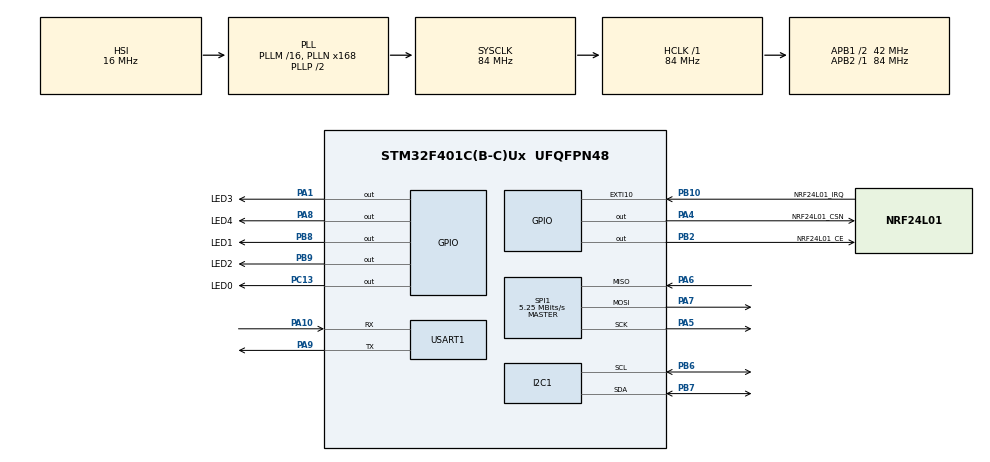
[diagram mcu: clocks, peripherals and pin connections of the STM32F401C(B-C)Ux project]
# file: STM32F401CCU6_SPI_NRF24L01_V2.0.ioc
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Mcu.Family=STM32F4
Mcu.Name=STM32F401C(B-C)Ux
Mcu.Package=UFQFPN48
NVIC.EXTI15_10_IRQn=true\:0\:0\:false\:false\:true\:true\:true\:true
NVIC.PriorityGroup=NVIC_PRIORITYGROUP_4
NVIC.TIM2_IRQn=true\:0\:0\:false\:false\:true\:true\:true\:true
NVIC.USART1_IRQn=true\:0\:0\:false\:false\:true\:true\:true\:true
PA1.GPIO_Label=LED3
PA1.Signal=GPIO_Output
PA10.Mode=Asynchronous
PA10.Signal=USART1_RX
PA13.Mode=Serial_Wire
PA13.Signal=SYS_JTMS-SWDIO
PA14.Mode=Serial_Wire
PA14.Signal=SYS_JTCK-SWCLK
PA4.GPIO_Label=NRF24L01_CSN
PA4.GPIO_Speed=GPIO_SPEED_FREQ_LOW
PA4.PinState=GPIO_PIN_SET
PA4.Signal=GPIO_Output
PA5.Mode=Full_Duplex_Master
PA5.Signal=SPI1_SCK
PA6.Mode=Full_Duplex_Master
PA6.Signal=SPI1_MISO
PA7.Mode=Full_Duplex_Master
PA7.Signal=SPI1_MOSI
PA8.GPIO_Label=LED4
PA8.Signal=GPIO_Output
PA9.Mode=Asynchronous
PA9.Signal=USART1_TX
PB10.GPIO_Label=NRF24L01_IRQ
PB10.GPIO_ModeDefaultEXTI=GPIO_MODE_IT_FALLING
PB10.GPIO_PuPd=GPIO_PULLUP
PB10.Signal=GPXTI10
PB2.GPIO_Label=NRF24L01_CE
PB2.Signal=GPIO_Output
PB6.Mode=I2C
PB6.Signal=I2C1_SCL
PB7.Mode=I2C
PB7.Signal=I2C1_SDA
PB8.GPIO_Label=LED1
PB8.Signal=GPIO_Output
PB9.GPIO_Label=LED2
PB9.Signal=GPIO_Output
PC13-ANTI_TAMP.GPIO_Label=LED0
PC13-ANTI_TAMP.Signal=GPIO_Output
ProjectManager.HeapSize=0x200
ProjectManager.StackSize=0x400
ProjectManager.TargetToolchain=MDK-ARM V5
RCC.48MHZClocksFreq_Value=42000000
RCC.AHBFreq_Value=84000000
RCC.APB1CLKDivider=RCC_HCLK_DIV2
RCC.APB1Freq_Value=42000000
RCC.APB1TimFreq_Value=84000000
RCC.APB2Freq_Value=84000000
RCC.APB2TimFreq_Value=84000000
RCC.CortexFreq_Value=84000000
RCC.HCLKFreq_Value=84000000
RCC.HSE_VALUE=25000000
RCC.HSI_VALUE=16000000
RCC.LSE_VALUE=32768
RCC.PLLN=168
RCC.SYSCLKFreq_VALUE=84000000
RCC.SYSCLKSource=RCC_SYSCLKSOURCE_PLLCLK
RCC.VCOOutputFreq_Value=168000000
SPI1.BaudRatePrescaler=SPI_BAUDRATEPRESCALER_16
SPI1.CalculateBaudRate=5.25 MBits/s
SPI1.Direction=SPI_DIRECTION_2LINES
SPI1.Mode=SPI_MODE_MASTER
SPI1.VirtualType=VM_MASTER
TIM2.AutoReloadPreload=TIM_AUTORELOAD_PRELOAD_ENABLE
TIM2.Period=1
TIM2.Prescaler=84-1
USART1.VirtualMode=VM_ASYNC
VP_TIM2_VS_ClockSourceINT.Mode=Internal
board=custom

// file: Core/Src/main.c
/* USER CODE BEGIN Header */
/**
  ******************************************************************************
  * @file           : main.c
  * @brief          : Main program body
  ******************************************************************************
  * @attention
  *
  * Copyright (c) 2022 STMicroelectronics.
  * All rights reserved.
  *
  * This software is licensed under terms that can be found in the LICENSE file
  * in the root directory of this software component.
  * If no LICENSE file comes with this software, it is provided AS-IS.
  *
  ******************************************************************************
  */
/* USER CODE END Header */
#include "main.h"

/* USER CODE BEGIN Includes */
#include "string.h"
#include "flash.h"
#include "oled.h"
#include "stdio.h"
/* USER CODE END Includes */

I2C_HandleTypeDef hi2c1;

SPI_HandleTypeDef hspi1;

TIM_HandleTypeDef htim2;

UART_HandleTypeDef huart1;

/* USER CODE BEGIN PV */
uint8_t nrf2401_tx_flag=0;
uint8_t nrf2401_txbuf[33];
uint8_t nrf_txbuf[33];
uint8_t txbuf_pos=0;
uint8_t currentNode = 0;
uint8_t desNode = 0;
uint8_t channel_flag=0;
uint8_t txflag = 2;
uint8_t MC_flag = 0;
uint8_t test_flag = 0;
uint32_t latency = 0;
uint32_t time = 0;
uint8_t pipe = 0;
float rate = 0;
uint8_t rx_cnt = 0;
uint32_t max_latency = 0;
uint32_t min_latency = 65536;
// 节点地址
/* USER CODE END PV */

void SystemClock_Config(void);
static void MX_GPIO_Init(void);
static void MX_SPI1_Init(void);
static void MX_USART1_UART_Init(void);
static void MX_TIM2_Init(void);
static void MX_I2C1_Init(void);
/* USER CODE BEGIN PFP */
void sendData(void);
/* USER CODE END PFP */

/* USER CODE BEGIN 0 */
void HAL_GPIO_EXTI_Callback(uint16_t GPIO_Pin)  //NRF2401_IRQ引脚中断
{ uint8_t tmp_buf[35],len;
  if(GPIO_Pin==NRF24L01_IRQ_Pin)
  { //*
    len=NRF24L01_RxPacket(tmp_buf); //返回收到的字节数,收到的len个字节数据存在tmp_buf中
    if(len>0)//一旦接收到信息,则串口发送出去.
    {
			tmp_buf[len+1]=0;
			//if(channel_flag != 0)
			//{
				send_int(&huart1,channel_flag);
				send_str(&huart1,(uint8_t *)"号机(通道");
				send_int(&huart1,pipe);
				send_str(&huart1,(uint8_t *)"):");
				if((tmp_buf[0] == 'r' || tmp_buf[0] == 't') && tmp_buf[1] == 'x' && (tmp_buf[2] >= '0' && tmp_buf[2] <= '3') && tmp_buf[3] == ' ')
					send_char_array(&huart1,tmp_buf,len - 1);
				else
					send_char_array(&huart1,tmp_buf,len);
			//}
			HAL_GPIO_TogglePin(LED0_GPIO_Port,LED0_Pin);
			HAL_GPIO_TogglePin(LED1_GPIO_Port,LED2_Pin);
	//__HAL_GPIO_EXTI_CLEAR_IT(NRF24L01_IRQ_Pin);
    }  // */
  }
}

/* USER CODE END 0 */

int main(void)
{

  /* MCU Configuration--------------------------------------------------------*/

  /* Reset of all peripherals, Initializes the Flash interface and the Systick. */
  HAL_Init();

  /* Configure the system clock */
  SystemClock_Config();

  /* Initialize all configured peripherals */
  MX_GPIO_Init();
  MX_SPI1_Init();
  MX_USART1_UART_Init();
  MX_TIM2_Init();
  MX_I2C1_Init();
  /* USER CODE BEGIN 2 */
  HAL_NVIC_DisableIRQ(NRF24L01_IRQ_EXTI_IRQn); //在MX_GPIO_Init()函数的末尾开了此中断，先关闭，等NRL24L01初始化完后再开中断
  __HAL_UART_ENABLE_IT(&huart1, UART_IT_RXNE); //使能串口1的接收中断，中断处理在stm32f4xx_it.c文件USART1_IRQHandler函数中
  __HAL_UART_ENABLE_IT(&huart1, UART_IT_IDLE); //使能串口1的空闲中断，中断处理在stm32f4xx_it.c文件USART1_IRQHandler函数中
	HAL_TIM_Base_Start_IT(&htim2);
  while(NRF24L01_Check())//检测不到24L01
  {
    HAL_GPIO_TogglePin(LED0_GPIO_Port,LED0_Pin);
    HAL_GPIO_TogglePin(LED1_GPIO_Port,LED1_Pin);
    HAL_Delay(250);
  }
  RX_Mode();//NRF24L01配置为接收模式

  // EXTI interrupt init
  HAL_NVIC_SetPriority(NRF24L01_IRQ_EXTI_IRQn, 0, 0);
  HAL_NVIC_EnableIRQ(NRF24L01_IRQ_EXTI_IRQn); //使能此中断本来在MX_GPIO_Init()函数的末尾，移到此等NRL24L01初始化完后再开中断
  //NRF24L01接收数据的处理程序在本文件HAL_GPIO_EXTI_Callback函数中

  /* USER CODE END 2 */

  /* Infinite loop */
  /* USER CODE BEGIN WHILE */
  /*for(uint8_t i=0;i<32;i++)
    nrf2401_txbuf[i]=0x20+i;*/
  //send_str(&huart1,(uint8_t *)"STM32F401CCU6 SPI NRF24L01 TEST\r\n");

	//这里读出断电前存储的主机号（低八位）和目标机号（高八位）
	uint16_t tem = *(uint16_t*)(FLASH_Start_Addr + 128);
	desNode = (uint8_t)(tem >> 8);
	currentNode = (uint8_t)(tem &0XFF);
	send_str(&huart1,(uint8_t *)"主机");
	send_int(&huart1,currentNode);
	send_str(&huart1,(uint8_t *)"号机发送给");
	send_int(&huart1,desNode);
	send_str(&huart1,(uint8_t *)"号机\r\n");

  while (1)
  {
     if(nrf2401_tx_flag) //串口1如果收到数据，会将nrf2401_tx_flag变量置1 ,
    { //串口1收到的数据存在数组nrf2401_txbuf[]中，长度为txbuf_pos个字节
			if(nrf2401_txbuf[0] == 't' && nrf2401_txbuf[1] == 'e' && nrf2401_txbuf[2] == 's' && nrf2401_txbuf[3] == 't' && txbuf_pos == 4) //t模式为测速率与延迟，好奇怪，只有分工二的遥控器能打印速率
			{
				test_flag++;
				test_flag = test_flag % 2;
				max_latency = 0;
				min_latency = 65535;
			}
			if((nrf2401_txbuf[0] == 'r' || nrf2401_txbuf[0] =='t') && txbuf_pos == 3 && nrf2401_txbuf[1] =='x'
				&& (nrf2401_txbuf[2] >= '0' && nrf2401_txbuf[2] <= '3'))
			{
				switch(nrf2401_txbuf[0])
				{
					case 't'://n模式设置节点号，n0发送广播
					{
						if(nrf2401_txbuf[2] - 48 != desNode)
						{
							switch(nrf2401_txbuf[2])
							{
								case '0':
									MC_flag = 1;break;
								case '1':
									currentNode = 1;MC_flag = 0;break;
								case '2':
									currentNode = 2;MC_flag = 0;break;
								case '3':
									currentNode = 3;MC_flag = 0;break;
							}
							if(MC_flag == 0 && (currentNode == 1 | currentNode == 2 | currentNode == 3))
							{
									send_str(&huart1,(uint8_t *)"设置为");
									send_int(&huart1,currentNode);
									send_str(&huart1,(uint8_t *)"号机\r\n");
							}
							else
							{
								send_str(&huart1,(uint8_t *)"广播模式\r\n");
							}
							break;
						}
						else
							send_str(&huart1,(uint8_t *)"Error:The transmitter and receiver cannot be the same.\r\n");
						break;
					}
					case 'r'://d模式设置接收机，d0查看接收方
					{
						//if(currentNode != nrf2401_txbuf[1] - 48)
						//{
							switch(nrf2401_txbuf[2])
							{
								case '1':
									desNode = 1;break;
								case '2':
									desNode = 2;break;
								case '3':
									desNode = 3;break;
							}
							MC_flag = 0;
							send_str(&huart1,(uint8_t *)"发送给");
							send_int(&huart1,desNode);
							send_str(&huart1,(uint8_t *)"号机\r\n");
							//break;
						//}
						//else
							//send_str(&huart1,(uint8_t *)"Error:The transmitter and receiver cannot be the same.");
						break;
					}

				}

				txbuf_pos=0; //长度清0
				nrf2401_tx_flag=0; //标志位清0
			}
      //TX_Mode0(); //NRF24L01切换到发送模式
			else
			{
				switch(currentNode)
				{
						case 1:
							TX_Mode0();break; //发送模式1：即1号机发，2、3号机收
						case 2:
							TX_Mode1();break; //发送模式2：即2号机发，1、3号机收
						case 3:
							TX_Mode2();break; //发送模式3：即3号机发，1、2号机收
				}
				sendData(); //调用sendData方法发送
				if(test_flag) //t模式下自动重发
				{
					uint8_t cnt = 0;

					uint8_t nrf24l01_testbuf[32] = {'0','1','2','3','4','5','6','7',
																					 '8','9','a','b','c','d','e','f',
																					 '0','1','2','3','4','5','6','7',
																					 '8','9','a','b','c','d','e','f',
																					};//延迟速率测试数据包

					float avg_rate = 0.0f;
					float avg_latency = 0.0f;

					while(cnt < 200) //发200次
					{
						cnt++;
						time = 0;
						txflag = 1;
						if(NRF24L01_TxPacket(nrf24l01_testbuf,32)==TX_OK)  //if NRF24L01发送成功
						{
							txflag = 0;
							//HAL_Delay(10);
							rx_cnt++;
							max_latency = (max_latency > latency)?max_latency:latency;
							if(latency)
								min_latency = (min_latency < latency)?min_latency:latency;
							send_int(&huart1,rx_cnt);
							send_str(&huart1,(uint8_t *)"\r\n");
							send_str(&huart1,(uint8_t *)"单个包传输时延:");
							send_float(&huart1,latency/2.0f,2);
							send_str(&huart1,(uint8_t *)"us\r\n");
							send_str(&huart1,(uint8_t *)"单个包传输速率:");
							rate = 1000.0f*(32.0f)/(latency);
							send_float(&huart1,rate,3);
							send_str(&huart1,(uint8_t *)"KB/s\r\n");
							avg_latency += latency;
							avg_rate += rate;
							HAL_GPIO_TogglePin(LED0_GPIO_Port,LED0_Pin); //切换灯的状态
							HAL_GPIO_TogglePin(LED1_GPIO_Port,LED1_Pin); //切换灯的状态
						}
						HAL_Delay(20);
					}
					send_str(&huart1,(uint8_t *)"tx:");
					send_int(&huart1,cnt);
					send_str(&huart1,(uint8_t *)"\r\n");
					send_str(&huart1,(uint8_t *)"rx:");
					send_int(&huart1,rx_cnt);
					send_str(&huart1,(uint8_t *)"\r\n");
					send_str(&huart1,(uint8_t *)"平均传输时延:");
					send_float(&huart1,1.0f*avg_latency/rx_cnt/2,3);
					send_str(&huart1,(uint8_t *)"us\r\n");
					send_str(&huart1,(uint8_t *)"最大平均传输时延:");
					send_float(&huart1,max_latency/2,2);
					send_str(&huart1,(uint8_t *)"us\r\n");
					send_str(&huart1,(uint8_t *)"最小平均传输时延:");
					send_float(&huart1,min_latency/2,2);
					send_str(&huart1,(uint8_t *)"us\r\n");
					send_str(&huart1,(uint8_t *)"平均传输速率:");
					send_float(&huart1,1.0f*avg_rate/rx_cnt,3);
					send_str(&huart1,(uint8_t *)"KB/s\r\n:");
					send_str(&huart1,(uint8_t *)"最大平均传输速率:");
					send_float(&huart1,1.0f*1000.0f*32.0f/max_latency,3);
					send_str(&huart1,(uint8_t *)"KB/s\r\n");
					send_str(&huart1,(uint8_t *)"最小平均传输速率:");
					send_float(&huart1,1.0f*1000.0f*32.0f/min_latency,3);
					send_str(&huart1,(uint8_t *)"KB/s\r\n");
					rx_cnt = 0;
				}
			}
      //else  //发送失败
        //HAL_Delay(10); //延时10ms，随后重新进入上面的if,重新发送。
      txbuf_pos=0; //长度清0
			nrf2401_tx_flag=0; //标志位清0
			RX_Mode(); //NRF24L01切换到接收模式
			uint16_t tem;
			if(currentNode != 0) //n0是广播模式，不写入flash，其他n/d1,n/d2,n/d3写入flash
			{
				tem = (desNode<< 8)|currentNode;
				MEM_If_Erase_FS(FLASH_Start_Addr+128,FLASH_End_Addr);
				writedata_to_flash((int16_t *)&tem,2,FLASH_Start_Addr + 128);
			}

    /* USER CODE END WHILE */
		}
  }
}

void SystemClock_Config(void)
{
  RCC_OscInitTypeDef RCC_OscInitStruct = {0};
  RCC_ClkInitTypeDef RCC_ClkInitStruct = {0};

  /** Configure the main internal regulator output voltage
  */
  __HAL_RCC_PWR_CLK_ENABLE();
  __HAL_PWR_VOLTAGESCALING_CONFIG(PWR_REGULATOR_VOLTAGE_SCALE2);

  /** Initializes the RCC Oscillators according to the specified parameters
  * in the RCC_OscInitTypeDef structure.
  */
  RCC_OscInitStruct.OscillatorType = RCC_OSCILLATORTYPE_HSI;
  RCC_OscInitStruct.HSIState = RCC_HSI_ON;
  RCC_OscInitStruct.HSICalibrationValue = RCC_HSICALIBRATION_DEFAULT;
  RCC_OscInitStruct.PLL.PLLState = RCC_PLL_ON;
  RCC_OscInitStruct.PLL.PLLSource = RCC_PLLSOURCE_HSI;
  RCC_OscInitStruct.PLL.PLLM = 16;
  RCC_OscInitStruct.PLL.PLLN = 168;
  RCC_OscInitStruct.PLL.PLLP = RCC_PLLP_DIV2;
  RCC_OscInitStruct.PLL.PLLQ = 4;
  if (HAL_RCC_OscConfig(&RCC_OscInitStruct) != HAL_OK)
  {
    Error_Handler();
  }

  /** Initializes the CPU, AHB and APB buses clocks
  */
  RCC_ClkInitStruct.ClockType = RCC_CLOCKTYPE_HCLK|RCC_CLOCKTYPE_SYSCLK
                              |RCC_CLOCKTYPE_PCLK1|RCC_CLOCKTYPE_PCLK2;
  RCC_ClkInitStruct.SYSCLKSource = RCC_SYSCLKSOURCE_PLLCLK;
  RCC_ClkInitStruct.AHBCLKDivider = RCC_SYSCLK_DIV1;
  RCC_ClkInitStruct.APB1CLKDivider = RCC_HCLK_DIV2;
  RCC_ClkInitStruct.APB2CLKDivider = RCC_HCLK_DIV1;

  if (HAL_RCC_ClockConfig(&RCC_ClkInitStruct, FLASH_LATENCY_2) != HAL_OK)
  {
    Error_Handler();
  }
}

static void MX_I2C1_Init(void)
{

  hi2c1.Instance = I2C1;
  hi2c1.Init.ClockSpeed = 100000;
  hi2c1.Init.DutyCycle = I2C_DUTYCYCLE_2;
  hi2c1.Init.OwnAddress1 = 0;
  hi2c1.Init.AddressingMode = I2C_ADDRESSINGMODE_7BIT;
  hi2c1.Init.DualAddressMode = I2C_DUALADDRESS_DISABLE;
  hi2c1.Init.OwnAddress2 = 0;
  hi2c1.Init.GeneralCallMode = I2C_GENERALCALL_DISABLE;
  hi2c1.Init.NoStretchMode = I2C_NOSTRETCH_DISABLE;
  if (HAL_I2C_Init(&hi2c1) != HAL_OK)
  {
    Error_Handler();
  }

}

static void MX_SPI1_Init(void)
{

  /* SPI1 parameter configuration*/
  hspi1.Instance = SPI1;
  hspi1.Init.Mode = SPI_MODE_MASTER;
  hspi1.Init.Direction = SPI_DIRECTION_2LINES;
  hspi1.Init.DataSize = SPI_DATASIZE_8BIT;
  hspi1.Init.CLKPolarity = SPI_POLARITY_LOW;
  hspi1.Init.CLKPhase = SPI_PHASE_1EDGE;
  hspi1.Init.NSS = SPI_NSS_SOFT;
  hspi1.Init.BaudRatePrescaler = SPI_BAUDRATEPRESCALER_16;
  hspi1.Init.FirstBit = SPI_FIRSTBIT_MSB;
  hspi1.Init.TIMode = SPI_TIMODE_DISABLE;
  hspi1.Init.CRCCalculation = SPI_CRCCALCULATION_DISABLE;
  hspi1.Init.CRCPolynomial = 10;
  if (HAL_SPI_Init(&hspi1) != HAL_OK)
  {
    Error_Handler();
  }

}

static void MX_TIM2_Init(void)
{

  TIM_ClockConfigTypeDef sClockSourceConfig = {0};
  TIM_MasterConfigTypeDef sMasterConfig = {0};

  htim2.Instance = TIM2;
  htim2.Init.Prescaler = 84-1;
  htim2.Init.CounterMode = TIM_COUNTERMODE_UP;
  htim2.Init.Period = 1;
  htim2.Init.ClockDivision = TIM_CLOCKDIVISION_DIV1;
  htim2.Init.AutoReloadPreload = TIM_AUTORELOAD_PRELOAD_ENABLE;
  if (HAL_TIM_Base_Init(&htim2) != HAL_OK)
  {
    Error_Handler();
  }
  sClockSourceConfig.ClockSource = TIM_CLOCKSOURCE_INTERNAL;
  if (HAL_TIM_ConfigClockSource(&htim2, &sClockSourceConfig) != HAL_OK)
  {
    Error_Handler();
  }
  sMasterConfig.MasterOutputTrigger = TIM_TRGO_RESET;
  sMasterConfig.MasterSlaveMode = TIM_MASTERSLAVEMODE_DISABLE;
  if (HAL_TIMEx_MasterConfigSynchronization(&htim2, &sMasterConfig) != HAL_OK)
  {
    Error_Handler();
  }

}

static void MX_USART1_UART_Init(void)
{

  huart1.Instance = USART1;
  huart1.Init.BaudRate = 115200;
  huart1.Init.WordLength = UART_WORDLENGTH_8B;
  huart1.Init.StopBits = UART_STOPBITS_1;
  huart1.Init.Parity = UART_PARITY_NONE;
  huart1.Init.Mode = UART_MODE_TX_RX;
  huart1.Init.HwFlowCtl = UART_HWCONTROL_NONE;
  huart1.Init.OverSampling = UART_OVERSAMPLING_16;
  if (HAL_UART_Init(&huart1) != HAL_OK)
  {
    Error_Handler();
  }

}

static void MX_GPIO_Init(void)
{
  GPIO_InitTypeDef GPIO_InitStruct = {0};

  /* GPIO Ports Clock Enable */
  __HAL_RCC_GPIOC_CLK_ENABLE();
  __HAL_RCC_GPIOA_CLK_ENABLE();
  __HAL_RCC_GPIOB_CLK_ENABLE();

  /*Configure GPIO pin Output Level */
  HAL_GPIO_WritePin(LED0_GPIO_Port, LED0_Pin, GPIO_PIN_RESET);

  /*Configure GPIO pin Output Level */
  HAL_GPIO_WritePin(GPIOA, LED3_Pin|LED4_Pin, GPIO_PIN_RESET);

  /*Configure GPIO pin Output Level */
  HAL_GPIO_WritePin(NRF24L01_CSN_GPIO_Port, NRF24L01_CSN_Pin, GPIO_PIN_SET);

  /*Configure GPIO pin Output Level */
  HAL_GPIO_WritePin(GPIOB, NRF24L01_CE_Pin|LED1_Pin|LED2_Pin, GPIO_PIN_RESET);

  /*Configure GPIO pin : LED0_Pin */
  GPIO_InitStruct.Pin = LED0_Pin;
  GPIO_InitStruct.Mode = GPIO_MODE_OUTPUT_PP;
  GPIO_InitStruct.Pull = GPIO_NOPULL;
  GPIO_InitStruct.Speed = GPIO_SPEED_FREQ_LOW;
  HAL_GPIO_Init(LED0_GPIO_Port, &GPIO_InitStruct);

  /*Configure GPIO pins : LED3_Pin NRF24L01_CSN_Pin LED4_Pin */
  GPIO_InitStruct.Pin = LED3_Pin|NRF24L01_CSN_Pin|LED4_Pin;
  GPIO_InitStruct.Mode = GPIO_MODE_OUTPUT_PP;
  GPIO_InitStruct.Pull = GPIO_NOPULL;
  GPIO_InitStruct.Speed = GPIO_SPEED_FREQ_LOW;
  HAL_GPIO_Init(GPIOA, &GPIO_InitStruct);

  /*Configure GPIO pins : NRF24L01_CE_Pin LED1_Pin LED2_Pin */
  GPIO_InitStruct.Pin = NRF24L01_CE_Pin|LED1_Pin|LED2_Pin;
  GPIO_InitStruct.Mode = GPIO_MODE_OUTPUT_PP;
  GPIO_InitStruct.Pull = GPIO_NOPULL;
  GPIO_InitStruct.Speed = GPIO_SPEED_FREQ_LOW;
  HAL_GPIO_Init(GPIOB, &GPIO_InitStruct);

  /*Configure GPIO pin : NRF24L01_IRQ_Pin */
  GPIO_InitStruct.Pin = NRF24L01_IRQ_Pin;
  GPIO_InitStruct.Mode = GPIO_MODE_IT_FALLING;
  GPIO_InitStruct.Pull = GPIO_PULLUP;
  HAL_GPIO_Init(NRF24L01_IRQ_GPIO_Port, &GPIO_InitStruct);

  /* EXTI interrupt init*/
  HAL_NVIC_SetPriority(EXTI15_10_IRQn, 0, 0);
  HAL_NVIC_EnableIRQ(EXTI15_10_IRQn);

}

/* USER CODE BEGIN 4 */
void sendData(void)
{
	if(NRF24L01_TxPacket(nrf2401_txbuf,txbuf_pos)==TX_OK)  //if NRF24L01发送成功
	{
		HAL_GPIO_TogglePin(LED0_GPIO_Port,LED0_Pin); //切换灯的状态
		HAL_GPIO_TogglePin(LED1_GPIO_Port,LED1_Pin); //切换灯的状态
	}

}
/* USER CODE END 4 */

void Error_Handler(void)
{
  __disable_irq();
  while (1)
  {
  }
}
